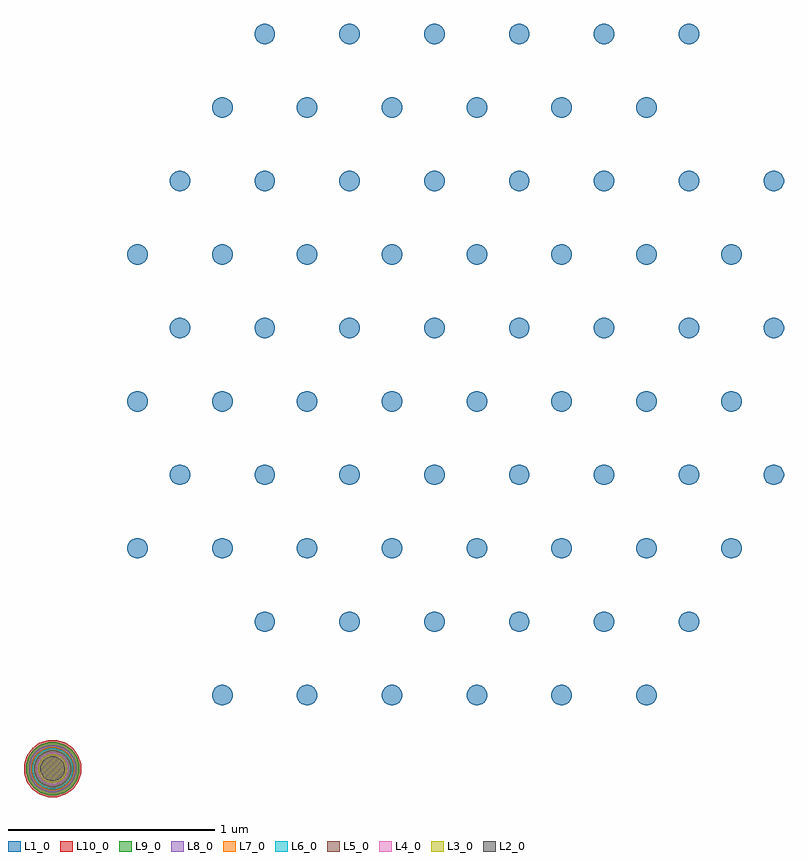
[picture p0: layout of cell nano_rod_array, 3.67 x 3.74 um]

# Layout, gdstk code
import gdstk
lib = gdstk.Library(unit=1e-6, precision=1e-12)
def P(c, l, *ps):  # polygons
    for p in ps: c.add(gdstk.Polygon(p, *l))
L1_0 = (1, 0)
L2_0 = (2, 0)
L3_0 = (3, 0)
L4_0 = (4, 0)
L5_0 = (5, 0)
L6_0 = (6, 0)
L7_0 = (7, 0)
L8_0 = (8, 0)
L9_0 = (9, 0)
L10_0 = (10, 0)

single_nano_pil1 = lib.new_cell('single_nano_pil1')
P(single_nano_pil1, L1_0, [(-0.0078,-0.0494),(-0.0227,-0.0445),(-0.0354,-0.0354),(-0.0445,-0.0227),(-0.0494,-0.0078),(-0.0494,0.0078),(-0.0445,0.0227),(-0.0354,0.0354),(-0.0227,0.0445),(-0.0078,0.0494),(0.0078,0.0494),(0.0227,0.0445),(0.0354,0.0354),(0.0445,0.0227),(0.0494,0.0078),(0.0494,-0.0078),(0.0445,-0.0227),(0.0354,-0.0354),(0.0227,-0.0445),(0.0078,-0.0494)])

single_nano_pil2 = lib.new_cell('single_nano_pil2')
P(single_nano_pil2, L2_0, [(-0.0094,-0.0593),(-0.0272,-0.0535),(-0.0424,-0.0424),(-0.0535,-0.0272),(-0.0593,-0.0094),(-0.0593,0.0094),(-0.0535,0.0272),(-0.0424,0.0424),(-0.0272,0.0535),(-0.0094,0.0593),(0.0094,0.0593),(0.0272,0.0535),(0.0424,0.0424),(0.0535,0.0272),(0.0593,0.0094),(0.0593,-0.0094),(0.0535,-0.0272),(0.0424,-0.0424),(0.0272,-0.0535),(0.0094,-0.0593)])

single_nano_pil3 = lib.new_cell('single_nano_pil3')
P(single_nano_pil3, L3_0, [(-0.0109,-0.0691),(-0.0318,-0.0624),(-0.0495,-0.0495),(-0.0624,-0.0318),(-0.0691,-0.0109),(-0.0691,0.0109),(-0.0624,0.0318),(-0.0495,0.0495),(-0.0318,0.0624),(-0.0109,0.0691),(0.0109,0.0691),(0.0318,0.0624),(0.0495,0.0495),(0.0624,0.0318),(0.0691,0.0109),(0.0691,-0.0109),(0.0624,-0.0318),(0.0495,-0.0495),(0.0318,-0.0624),(0.0109,-0.0691)])

single_nano_pil4 = lib.new_cell('single_nano_pil4')
P(single_nano_pil4, L4_0, [(-0.0125,-0.079),(-0.0363,-0.0713),(-0.0566,-0.0566),(-0.0713,-0.0363),(-0.079,-0.0125),(-0.079,0.0125),(-0.0713,0.0363),(-0.0566,0.0566),(-0.0363,0.0713),(-0.0125,0.079),(0.0125,0.079),(0.0363,0.0713),(0.0566,0.0566),(0.0713,0.0363),(0.079,0.0125),(0.079,-0.0125),(0.0713,-0.0363),(0.0566,-0.0566),(0.0363,-0.0713),(0.0125,-0.079)])

single_nano_pil5 = lib.new_cell('single_nano_pil5')
P(single_nano_pil5, L5_0, [(-0.0141,-0.0889),(-0.0409,-0.0802),(-0.0636,-0.0636),(-0.0802,-0.0409),(-0.0889,-0.0141),(-0.0889,0.0141),(-0.0802,0.0409),(-0.0636,0.0636),(-0.0409,0.0802),(-0.0141,0.0889),(0.0141,0.0889),(0.0409,0.0802),(0.0636,0.0636),(0.0802,0.0409),(0.0889,0.0141),(0.0889,-0.0141),(0.0802,-0.0409),(0.0636,-0.0636),(0.0409,-0.0802),(0.0141,-0.0889)])

single_nano_pil6 = lib.new_cell('single_nano_pil6')
P(single_nano_pil6, L6_0, [(-0.0156,-0.0988),(-0.0454,-0.0891),(-0.0707,-0.0707),(-0.0891,-0.0454),(-0.0988,-0.0156),(-0.0988,0.0156),(-0.0891,0.0454),(-0.0707,0.0707),(-0.0454,0.0891),(-0.0156,0.0988),(0.0156,0.0988),(0.0454,0.0891),(0.0707,0.0707),(0.0891,0.0454),(0.0988,0.0156),(0.0988,-0.0156),(0.0891,-0.0454),(0.0707,-0.0707),(0.0454,-0.0891),(0.0156,-0.0988)])

single_nano_pil7 = lib.new_cell('single_nano_pil7')
P(single_nano_pil7, L7_0, [(-0.0164,-0.1037),(-0.0477,-0.0936),(-0.0742,-0.0742),(-0.0936,-0.0477),(-0.1037,-0.0164),(-0.1037,0.0164),(-0.0936,0.0477),(-0.0742,0.0742),(-0.0477,0.0936),(-0.0164,0.1037),(0.0164,0.1037),(0.0477,0.0936),(0.0742,0.0742),(0.0936,0.0477),(0.1037,0.0164),(0.1037,-0.0164),(0.0936,-0.0477),(0.0742,-0.0742),(0.0477,-0.0936),(0.0164,-0.1037)])

single_nano_pil8 = lib.new_cell('single_nano_pil8')
P(single_nano_pil8, L8_0, [(-0.018,-0.1136),(-0.0522,-0.1025),(-0.0813,-0.0813),(-0.1025,-0.0522),(-0.1136,-0.018),(-0.1136,0.018),(-0.1025,0.0522),(-0.0813,0.0813),(-0.0522,0.1025),(-0.018,0.1136),(0.018,0.1136),(0.0522,0.1025),(0.0813,0.0813),(0.1025,0.0522),(0.1136,0.018),(0.1136,-0.018),(0.1025,-0.0522),(0.0813,-0.0813),(0.0522,-0.1025),(0.018,-0.1136)])

single_nano_pil9 = lib.new_cell('single_nano_pil9')
P(single_nano_pil9, L9_0, [(-0.0203,-0.1284),(-0.059,-0.1158),(-0.0919,-0.0919),(-0.1158,-0.059),(-0.1284,-0.0203),(-0.1284,0.0203),(-0.1158,0.059),(-0.0919,0.0919),(-0.059,0.1158),(-0.0203,0.1284),(0.0203,0.1284),(0.059,0.1158),(0.0919,0.0919),(0.1158,0.059),(0.1284,0.0203),(0.1284,-0.0203),(0.1158,-0.059),(0.0919,-0.0919),(0.059,-0.1158),(0.0203,-0.1284)])

single_nano_pil10 = lib.new_cell('single_nano_pil10')
P(single_nano_pil10, L10_0, [(-0.0219,-0.1383),(-0.0636,-0.1247),(-0.099,-0.099),(-0.1247,-0.0636),(-0.1383,-0.0219),(-0.1383,0.0219),(-0.1247,0.0636),(-0.099,0.099),(-0.0636,0.1247),(-0.0219,0.1383),(0.0219,0.1383),(0.0636,0.1247),(0.099,0.099),(0.1247,0.0636),(0.1383,0.0219),(0.1383,-0.0219),(0.1247,-0.0636),(0.099,-0.099),(0.0636,-0.1247),(0.0219,-0.1383)])

nano_rod_array = lib.new_cell('nano_rod_array')
nano_rod_array.add(gdstk.Reference(single_nano_pil1, (0.82,0.3551)))
nano_rod_array.add(gdstk.Reference(single_nano_pil1, (1.23,0.3551)))
nano_rod_array.add(gdstk.Reference(single_nano_pil1, (1.64,0.3551)))
nano_rod_array.add(gdstk.Reference(single_nano_pil1, (2.05,0.3551)))
nano_rod_array.add(gdstk.Reference(single_nano_pil1, (2.46,0.3551)))
nano_rod_array.add(gdstk.Reference(single_nano_pil1, (2.87,0.3551)))
nano_rod_array.add(gdstk.Reference(single_nano_pil1, (1.025,0.7101)))
nano_rod_array.add(gdstk.Reference(single_nano_pil1, (1.435,0.7101)))
nano_rod_array.add(gdstk.Reference(single_nano_pil1, (1.845,0.7101)))
nano_rod_array.add(gdstk.Reference(single_nano_pil1, (2.255,0.7101)))
nano_rod_array.add(gdstk.Reference(single_nano_pil1, (2.665,0.7101)))
nano_rod_array.add(gdstk.Reference(single_nano_pil1, (3.075,0.7101)))
nano_rod_array.add(gdstk.Reference(single_nano_pil1, (0.41,1.0652)))
nano_rod_array.add(gdstk.Reference(single_nano_pil1, (0.82,1.0652)))
nano_rod_array.add(gdstk.Reference(single_nano_pil1, (1.23,1.0652)))
nano_rod_array.add(gdstk.Reference(single_nano_pil1, (1.64,1.0652)))
nano_rod_array.add(gdstk.Reference(single_nano_pil1, (2.05,1.0652)))
nano_rod_array.add(gdstk.Reference(single_nano_pil1, (2.46,1.0652)))
nano_rod_array.add(gdstk.Reference(single_nano_pil1, (2.87,1.0652)))
nano_rod_array.add(gdstk.Reference(single_nano_pil1, (3.28,1.0652)))
nano_rod_array.add(gdstk.Reference(single_nano_pil1, (0.615,1.4203)))
nano_rod_array.add(gdstk.Reference(single_nano_pil1, (1.025,1.4203)))
nano_rod_array.add(gdstk.Reference(single_nano_pil1, (1.435,1.4203)))
nano_rod_array.add(gdstk.Reference(single_nano_pil1, (1.845,1.4203)))
nano_rod_array.add(gdstk.Reference(single_nano_pil1, (2.255,1.4203)))
nano_rod_array.add(gdstk.Reference(single_nano_pil1, (2.665,1.4203)))
nano_rod_array.add(gdstk.Reference(single_nano_pil1, (3.075,1.4203)))
nano_rod_array.add(gdstk.Reference(single_nano_pil1, (3.485,1.4203)))
nano_rod_array.add(gdstk.Reference(single_nano_pil1, (0.41,1.7754)))
nano_rod_array.add(gdstk.Reference(single_nano_pil1, (0.82,1.7754)))
nano_rod_array.add(gdstk.Reference(single_nano_pil1, (1.23,1.7754)))
nano_rod_array.add(gdstk.Reference(single_nano_pil1, (1.64,1.7754)))
nano_rod_array.add(gdstk.Reference(single_nano_pil1, (2.05,1.7754)))
nano_rod_array.add(gdstk.Reference(single_nano_pil1, (2.46,1.7754)))
nano_rod_array.add(gdstk.Reference(single_nano_pil1, (2.87,1.7754)))
nano_rod_array.add(gdstk.Reference(single_nano_pil1, (3.28,1.7754)))
nano_rod_array.add(gdstk.Reference(single_nano_pil1, (0.615,2.1304)))
nano_rod_array.add(gdstk.Reference(single_nano_pil1, (1.025,2.1304)))
nano_rod_array.add(gdstk.Reference(single_nano_pil1, (1.435,2.1304)))
nano_rod_array.add(gdstk.Reference(single_nano_pil1, (1.845,2.1304)))
nano_rod_array.add(gdstk.Reference(single_nano_pil1, (2.255,2.1304)))
nano_rod_array.add(gdstk.Reference(single_nano_pil1, (2.665,2.1304)))
nano_rod_array.add(gdstk.Reference(single_nano_pil1, (3.075,2.1304)))
nano_rod_array.add(gdstk.Reference(single_nano_pil1, (3.485,2.1304)))
nano_rod_array.add(gdstk.Reference(single_nano_pil1, (0.41,2.4855)))
nano_rod_array.add(gdstk.Reference(single_nano_pil1, (0.82,2.4855)))
nano_rod_array.add(gdstk.Reference(single_nano_pil1, (1.23,2.4855)))
nano_rod_array.add(gdstk.Reference(single_nano_pil1, (1.64,2.4855)))
nano_rod_array.add(gdstk.Reference(single_nano_pil1, (2.05,2.4855)))
nano_rod_array.add(gdstk.Reference(single_nano_pil1, (2.46,2.4855)))
nano_rod_array.add(gdstk.Reference(single_nano_pil1, (2.87,2.4855)))
nano_rod_array.add(gdstk.Reference(single_nano_pil1, (3.28,2.4855)))
nano_rod_array.add(gdstk.Reference(single_nano_pil1, (0.615,2.8406)))
nano_rod_array.add(gdstk.Reference(single_nano_pil1, (1.025,2.8406)))
nano_rod_array.add(gdstk.Reference(single_nano_pil1, (1.435,2.8406)))
nano_rod_array.add(gdstk.Reference(single_nano_pil1, (1.845,2.8406)))
nano_rod_array.add(gdstk.Reference(single_nano_pil1, (2.255,2.8406)))
nano_rod_array.add(gdstk.Reference(single_nano_pil1, (2.665,2.8406)))
nano_rod_array.add(gdstk.Reference(single_nano_pil1, (3.075,2.8406)))
nano_rod_array.add(gdstk.Reference(single_nano_pil1, (3.485,2.8406)))
nano_rod_array.add(gdstk.Reference(single_nano_pil1, (0.82,3.1956)))
nano_rod_array.add(gdstk.Reference(single_nano_pil1, (1.23,3.1956)))
nano_rod_array.add(gdstk.Reference(single_nano_pil1, (1.64,3.1956)))
nano_rod_array.add(gdstk.Reference(single_nano_pil1, (2.05,3.1956)))
nano_rod_array.add(gdstk.Reference(single_nano_pil1, (2.46,3.1956)))
nano_rod_array.add(gdstk.Reference(single_nano_pil1, (2.87,3.1956)))
nano_rod_array.add(gdstk.Reference(single_nano_pil1, (1.025,3.5507)))
nano_rod_array.add(gdstk.Reference(single_nano_pil1, (1.435,3.5507)))
nano_rod_array.add(gdstk.Reference(single_nano_pil1, (1.845,3.5507)))
nano_rod_array.add(gdstk.Reference(single_nano_pil1, (2.255,3.5507)))
nano_rod_array.add(gdstk.Reference(single_nano_pil1, (2.665,3.5507)))
nano_rod_array.add(gdstk.Reference(single_nano_pil1, (3.075,3.5507)))
nano_rod_array.add(gdstk.Reference(single_nano_pil2, (0,0)))
nano_rod_array.add(gdstk.Reference(single_nano_pil3, (0,0)))
nano_rod_array.add(gdstk.Reference(single_nano_pil4, (0,0)))
nano_rod_array.add(gdstk.Reference(single_nano_pil5, (0,0)))
nano_rod_array.add(gdstk.Reference(single_nano_pil6, (0,0)))
nano_rod_array.add(gdstk.Reference(single_nano_pil7, (0,0)))
nano_rod_array.add(gdstk.Reference(single_nano_pil8, (0,0)))
nano_rod_array.add(gdstk.Reference(single_nano_pil9, (0,0)))
nano_rod_array.add(gdstk.Reference(single_nano_pil10, (0,0)))

lib.write_gds('nano_rod_array.gds')
